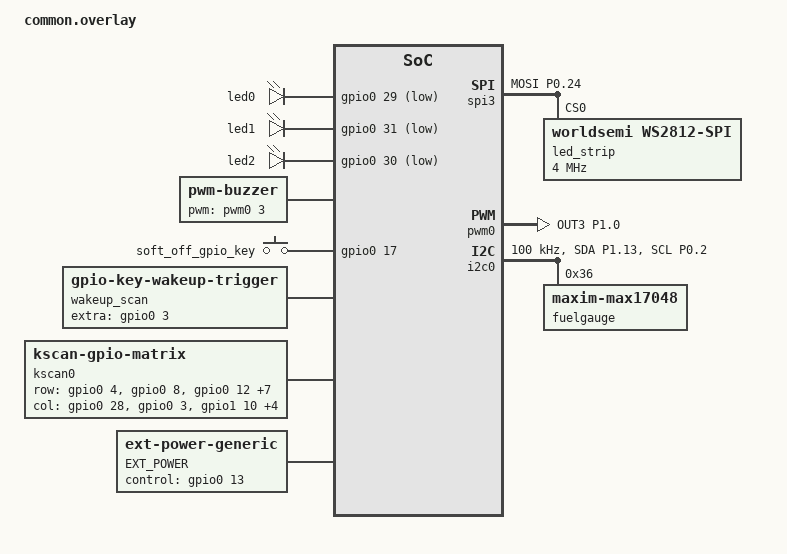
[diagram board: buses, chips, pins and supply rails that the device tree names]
#include <dt-bindings/led/led.h>
#include "common_layouts.dtsi"

/ {
    aliases {
        indicator-r = &led0;
        indicator-g = &led1;
        indicator-b = &led2;
        buzzer = &buzzer;
    };

    leds {
        /* P0.29 R, P0.31 G, P0.30 B */
        compatible = "gpio-leds";
        status = "okay";
        led0: led_0 { gpios = <&gpio0 29 GPIO_ACTIVE_LOW>; }; //r
        led1: led_1 { gpios = <&gpio0 31 GPIO_ACTIVE_LOW>; }; //g
        led2: led_2 { gpios = <&gpio0 30 GPIO_ACTIVE_LOW>; }; //b
    };

    buzzer: pwm_buzzer {
        compatible = "pwm-buzzer";
		pwms = <&pwm0 3 1000 PWM_POLARITY_NORMAL>;
		//set status = "okay" to enable the buzzer
		// status = "disabled";
		status = "okay";
    };

    /* --- Wakeup after Soft-off using key D --- */
    keys {
        compatible = "gpio-keys";
        soft_off_gpio_key: soft_off_gpio_key {
            gpios = <&gpio0 17 (GPIO_ACTIVE_HIGH | GPIO_PULL_DOWN)>; // row5
        };
    };

    wakeup_scan: wakeup_scan {
        compatible = "zmk,gpio-key-wakeup-trigger";
        trigger = <&soft_off_gpio_key>;
        wakeup-source;
        extra-gpios = <&gpio0 3  GPIO_ACTIVE_HIGH>; // col1
    };

    soft_off_wakers {
        compatible = "zmk,soft-off-wakeup-sources";
        wakeup-sources = <&wakeup_scan>;
    };
    /* end of soft-off */

    chosen {
        zmk,underglow = &led_strip;
        zmk,kscan = &kscan0;
    };

    kscan0: kscan {
        compatible = "zmk,kscan-gpio-matrix";
        wakeup-source;
        diode-direction = "col2row";
        row-gpios
            = <&gpio0 4  (GPIO_ACTIVE_HIGH | GPIO_PULL_DOWN)>   // row0
            , <&gpio0 8  (GPIO_ACTIVE_HIGH | GPIO_PULL_DOWN)>   // row1
            , <&gpio0 12 (GPIO_ACTIVE_HIGH | GPIO_PULL_DOWN)>   // row2
            , <&gpio0 7  (GPIO_ACTIVE_HIGH | GPIO_PULL_DOWN)>   // row3
            , <&gpio0 15 (GPIO_ACTIVE_HIGH | GPIO_PULL_DOWN)>   // row4
            , <&gpio0 17 (GPIO_ACTIVE_HIGH | GPIO_PULL_DOWN)>   // row5
            , <&gpio1 9  (GPIO_ACTIVE_HIGH | GPIO_PULL_DOWN)>   // row6
            , <&gpio0 5  (GPIO_ACTIVE_HIGH | GPIO_PULL_DOWN)>   // row7
            , <&gpio1 4  (GPIO_ACTIVE_HIGH | GPIO_PULL_DOWN)>   // row8
            , <&gpio1 6  (GPIO_ACTIVE_HIGH | GPIO_PULL_DOWN)>   // row9
            ;
        col-gpios
            = <&gpio0 28 GPIO_ACTIVE_HIGH>  // col0
            , <&gpio0 3  GPIO_ACTIVE_HIGH>  // col1
            , <&gpio1 10 GPIO_ACTIVE_HIGH>  // col2
            , <&gpio1 11 GPIO_ACTIVE_HIGH>  // col3
            , <&gpio0 6  GPIO_ACTIVE_HIGH>  // col4
            , <&gpio1 2  GPIO_ACTIVE_HIGH>  // col5
            , <&gpio0 22 GPIO_ACTIVE_HIGH>  // col6
            ;
    };

    ext-power {
        compatible = "zmk,ext-power-generic";
        label = "EXT_POWER";
        control-gpios = <&gpio0 13 GPIO_ACTIVE_HIGH>;
    };

    
};

// Base Layout with all keys in matrix.
/ {
    chosen {
        zmk,physical-layout = &layout_all;
    };

    matrix_transform_all: matrix_transform_all {
        compatible = "zmk,matrix-transform";
        columns = <7>;
        rows = <10>;
        map = < WHT_MAP_ALL >;
    };
    
    layout_all: layout_all {
        compatible = "zmk,physical-layout";
        display-name = "ALL KEYS";
        transform = <&matrix_transform_all>;

        keys = WHT_LAYOUT_ALL;
    };
};

&pinctrl {
    spi3_default: spi3_default {
        group1 {
            psels = <NRF_PSEL(SPIM_MOSI, 0, 24)>;
        };
    };

    spi3_sleep: spi3_sleep {
        group1 {
            psels = <NRF_PSEL(SPIM_MOSI, 0, 24)>;
            low-power-enable;
        };
    };

    pwm0_default: pwm0_default {
        group1 {
            psels = <NRF_PSEL(PWM_OUT3, 1, 0)>;  // P1.00 Buzzer
        };
    };

    pwm0_sleep: pwm0_sleep {
        group1 {
            psels = <NRF_PSEL(PWM_OUT3, 1, 0)>;
            low-power-enable;
        };
    };

    i2c0_default: i2c0_default {
        group1 {
            psels = <NRF_PSEL(TWIM_SDA, 1, 13)>,  // P0.13 SDA
                    <NRF_PSEL(TWIM_SCL, 0,  2)>;  // P0.02 SCL
        };
    };

    i2c0_sleep: i2c0_sleep {
        group1 {
            psels = <NRF_PSEL(TWIM_SDA, 1, 13)>,
                    <NRF_PSEL(TWIM_SCL, 0,  2)>;
            low-power-enable;
        };
    };
};

&spi3 {
    compatible = "nordic,nrf-spim";
    status = "okay";

    pinctrl-0 = <&spi3_default>;
    pinctrl-1 = <&spi3_sleep>;
    pinctrl-names = "default", "sleep";

    led_strip: ws2812@0 {
        compatible = "worldsemi,ws2812-spi";

        /* SPI */
        reg = <0>; /* ignored, but necessary for SPI bindings */
        spi-max-frequency = <4000000>;

        /* WS2812 */
        chain-length = <26>; /* arbitrary; change at will */
        spi-one-frame = <0x70>;
        spi-zero-frame = <0x40>;

        color-mapping = <LED_COLOR_ID_GREEN LED_COLOR_ID_RED LED_COLOR_ID_BLUE>;
    };
};

&pwm0 {
    status = "okay";
    pinctrl-0 = <&pwm0_default>;
    pinctrl-1 = <&pwm0_sleep>;
    pinctrl-names = "default", "sleep";
};

&i2c0 {
    status = "okay";
    compatible = "nordic,nrf-twim";
    pinctrl-0 = <&i2c0_default>;
    pinctrl-1 = <&i2c0_sleep>;
    pinctrl-names = "default", "sleep";
    // clock-frequency = <100000>;
    clock-frequency = <I2C_BITRATE_STANDARD>; // 100kHz

    fuelgauge: max17048@36 {
        compatible = "zmk,maxim-max17048";
        reg = <0x36>;
        status = "okay";
    };
};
